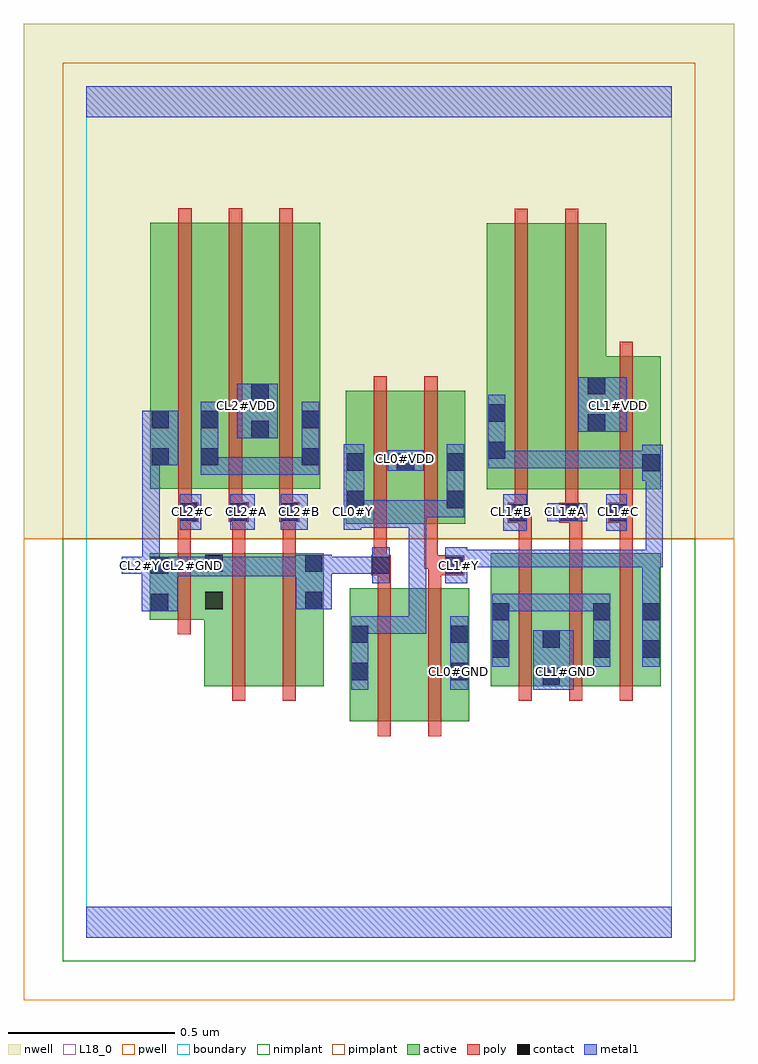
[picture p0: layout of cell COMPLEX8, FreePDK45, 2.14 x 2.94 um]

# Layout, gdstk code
import gdstk
lib = gdstk.Library(unit=1e-6, precision=1e-09)
def R(c, l, rs):  # rectangles x0, y0, x1, y1
    for r in rs: c.add(gdstk.rectangle(r[:2], r[2:], *l))
def A(c, l, x, y, w, h, nx, ny, dx, dy):  # array of equal rectangles
    R(c, l, [(x+i*dx, y+j*dy, x+i*dx+w, y+j*dy+h) for i in range(nx) for j in range(ny)])
active = (1, 0)
pwell = (2, 0)
nwell = (3, 0)
nimplant = (4, 0)
pimplant = (5, 0)
poly = (9, 0)
contact = (10, 0)
metal1 = (11, 0)
L18_0 = (18, 0)
boundary = (235, 0)

complex8 = lib.new_cell('COMPLEX8')
A(complex8, active, 0.34, 1.35, 0.06, 0.694, 3, 1, 0.152, 0)
R(complex8, active, [(0.792,0.65,0.852,1.05), (0.792,0.65,0.972,1.05), (0.972,0.65,1.152,1.05), (1.092,0.65,1.152,1.05), (0.354,0.756,0.414,1.156), (0.354,0.756,0.534,1.156), (0.534,0.756,0.714,1.156), (0.654,0.756,0.714,1.156), (1.216,0.756,1.276,1.156), (1.216,0.756,1.428,1.156), (1.368,0.756,1.58,1.156), (1.368,0.756,1.428,0.928), (1.52,0.756,1.58,1.156), (1.52,0.756,1.728,1.156), (1.668,0.756,1.728,1.156), (0.19,0.956,0.414,1.156), (0.19,0.956,0.25,1.156), (0.78,1.244,0.84,1.644), (0.78,1.244,0.99,1.644), (0.93,1.244,1.14,1.644), (1.08,1.244,1.14,1.644), (1.204,1.348,1.384,2.148), (1.204,1.348,1.264,2.044), (1.384,1.348,1.564,2.148), (1.504,1.348,1.728,1.748), (1.668,1.348,1.728,1.748), (0.192,1.35,0.252,2.044), (0.192,1.35,0.4,2.15), (0.34,1.35,0.552,2.15), (0.492,1.35,0.704,2.15), (0.93,1.388,0.99,1.644), (1.504,1.518,1.564,2.126)])
R(complex8, pwell, [(-0.188,-0.188,1.948,1.2)])
R(complex8, nwell, [(-0.188,1.2,1.948,2.748)])
R(complex8, nimplant, [(-0.072,-0.072,1.832,1.2)])
R(complex8, pimplant, [(-0.072,1.2,1.832,2.632)])
A(complex8, poly, 1.3, 0.712, 0.04, 0.488, 3, 1, 0.152, 0)
A(complex8, poly, 1.3, 1.16, 0.04, 0.128, 3, 1, 0.152, 0)
A(complex8, poly, 0.276, 1.25, 0.06, 0.06, 3, 1, 0.152, 0)
A(complex8, poly, 0.276, 1.27, 0.04, 0.076, 3, 1, 0.152, 0)
A(complex8, poly, 0.276, 1.306, 0.04, 0.888, 3, 1, 0.152, 0)
R(complex8, poly, [(0.876,0.606,0.916,1.094), (1.028,0.606,1.068,1.094), (0.438,0.712,0.478,1.2), (0.59,0.712,0.63,1.2), (0.274,0.912,0.314,1.2), (0.876,1.054,0.916,1.13), (1.028,1.054,1.068,1.13), (0.856,1.09,0.916,1.15), (1.028,1.09,1.136,1.15), (0.864,1.11,0.904,1.15), (0.864,1.11,0.904,1.15), (0.864,1.11,0.904,1.24), (1.016,1.11,1.068,1.15), (1.016,1.11,1.056,1.24), (1.028,1.11,1.068,1.15), (0.274,1.16,0.314,1.29), (0.438,1.16,0.478,1.29), (0.59,1.16,0.63,1.29), (0.864,1.2,0.904,1.688), (1.016,1.2,1.056,1.688), (1.268,1.248,1.328,1.308), (1.288,1.248,1.328,1.288), (1.288,1.248,1.34,1.288), (1.422,1.248,1.482,1.308), (1.442,1.248,1.482,1.288), (1.442,1.248,1.492,1.288), (1.57,1.248,1.644,1.308), (1.604,1.248,1.644,1.288), (1.604,1.248,1.644,1.288), (0.274,1.25,0.316,1.29), (0.276,1.25,0.316,1.29), (0.438,1.25,0.478,1.29), (0.438,1.25,0.478,1.29), (0.59,1.25,0.63,1.29), (0.59,1.25,0.63,1.29), (1.288,1.268,1.328,1.344), (1.44,1.268,1.48,1.344), (1.604,1.268,1.644,1.344), (1.288,1.304,1.328,2.192), (1.44,1.304,1.48,2.192), (1.604,1.304,1.644,1.792)])
A(complex8, contact, 0.28, 1.254, 0.052, 0.052, 3, 1, 0.152, 0)
A(complex8, contact, 0.784, 1.404, 0.052, 0.052, 3, 1, 0.15, 0)
R(complex8, contact, [(1.372,0.76,1.424,0.812), (0.796,0.774,0.848,0.826), (1.096,0.774,1.148,0.826), (1.22,0.842,1.272,0.894), (1.524,0.842,1.576,0.894), (1.672,0.842,1.724,0.894), (1.372,0.872,1.424,0.924), (0.796,0.886,0.848,0.938), (1.096,0.886,1.148,0.938), (1.22,0.954,1.272,1.006), (1.524,0.954,1.576,1.006), (1.672,0.954,1.724,1.006), (0.194,0.982,0.246,1.034), (0.358,0.988,0.41,1.04), (0.658,0.988,0.71,1.04), (0.194,1.094,0.246,1.146), (0.86,1.094,0.912,1.146), (1.08,1.094,1.132,1.146), (0.358,1.1,0.41,1.152), (0.658,1.1,0.71,1.152), (1.272,1.252,1.324,1.304), (1.426,1.252,1.478,1.304), (1.574,1.252,1.626,1.304), (0.784,1.292,0.836,1.344), (1.084,1.292,1.136,1.344), (1.672,1.402,1.724,1.454), (0.196,1.42,0.248,1.472), (0.344,1.42,0.396,1.472), (0.648,1.42,0.7,1.472), (1.208,1.44,1.26,1.492), (0.496,1.502,0.548,1.554), (1.508,1.522,1.56,1.574), (0.196,1.532,0.248,1.584), (0.344,1.532,0.396,1.584), (0.648,1.532,0.7,1.584), (1.208,1.552,1.26,1.604), (0.496,1.614,0.548,1.666), (1.508,1.634,1.56,1.686)])
R(complex8, metal1, [(0,0,1.76,0.092), (0.796,0.746,0.848,0.966), (1.094,0.746,1.148,0.966), (1.344,0.746,1.466,0.924), (1.22,0.814,1.272,1.034), (1.524,0.814,1.576,1.034), (1.672,0.814,1.724,1.034), (0.796,0.914,1.022,0.966), (0.97,0.914,1.022,0.966), (0.97,0.914,1.022,0.966), (0.97,0.914,1.022,0.966), (0.97,0.914,1.022,1.284), (0.166,0.982,0.274,1.146), (1.22,0.982,1.272,1.034), (1.22,0.982,1.272,1.034), (1.22,0.982,1.382,1.034), (1.33,0.982,1.382,1.034), (1.33,0.982,1.382,1.034), (1.33,0.982,1.382,1.034), (1.33,0.982,1.576,1.034), (1.672,0.982,1.724,1.166), (0.63,0.988,0.738,1.152), (0.86,1.066,0.912,1.174), (1.08,1.066,1.146,1.174), (0.222,1.086,0.274,1.138), (0.222,1.086,0.274,1.138), (0.222,1.086,0.396,1.138), (0.344,1.086,0.396,1.138), (0.344,1.086,0.396,1.138), (0.344,1.086,0.396,1.138), (0.344,1.086,0.572,1.138), (0.52,1.086,0.572,1.138), (0.52,1.086,0.572,1.138), (0.52,1.086,0.572,1.138), (0.52,1.086,0.682,1.138), (0.106,1.094,0.22,1.146), (0.168,1.094,0.22,1.146), (0.168,1.094,0.22,1.146), (0.168,1.094,0.22,1.146), (0.168,1.094,0.22,1.146), (0.168,1.094,0.22,1.146), (0.168,1.094,0.396,1.146), (0.168,1.094,0.22,1.472), (0.344,1.094,0.396,1.146), (0.344,1.094,0.396,1.146), (0.344,1.094,0.396,1.146), (0.344,1.094,0.506,1.146), (0.454,1.094,0.506,1.146), (0.454,1.094,0.506,1.146), (0.454,1.094,0.506,1.146), (0.454,1.094,0.716,1.146), (0.664,1.094,0.716,1.146), (0.664,1.094,0.716,1.146), (0.664,1.094,0.716,1.146), (0.664,1.094,0.912,1.146), (1.094,1.114,1.146,1.166), (1.094,1.114,1.146,1.166), (1.094,1.114,1.272,1.166), (1.22,1.114,1.272,1.166), (1.22,1.114,1.272,1.166), (1.22,1.114,1.272,1.166), (1.22,1.114,1.396,1.166), (1.344,1.114,1.396,1.166), (1.344,1.114,1.396,1.166), (1.344,1.114,1.396,1.166), (1.344,1.114,1.558,1.166), (1.506,1.114,1.558,1.166), (1.506,1.114,1.724,1.166), (1.672,1.114,1.724,1.166), (1.672,1.114,1.724,1.166), (1.672,1.114,1.734,1.166), (1.682,1.114,1.734,1.426), (1.682,1.114,1.734,1.166), (1.682,1.114,1.734,1.166), (1.254,1.224,1.324,1.334), (1.564,1.224,1.626,1.334), (0.28,1.226,0.346,1.334), (0.432,1.226,0.506,1.334), (0.584,1.226,0.666,1.334), (0.774,1.226,0.826,1.334), (0.774,1.232,1.022,1.284), (0.97,1.232,1.022,1.284), (0.97,1.232,1.022,1.284), (0.97,1.232,1.022,1.284), (0.97,1.232,1.022,1.284), (0.97,1.232,1.022,1.284), (1.386,1.252,1.506,1.306), (0.774,1.264,0.826,1.316), (0.774,1.264,0.836,1.484), (0.784,1.264,0.958,1.316), (0.906,1.264,0.958,1.316), (0.906,1.264,0.958,1.316), (0.906,1.264,0.958,1.316), (0.906,1.264,1.136,1.316), (1.084,1.264,1.136,1.316), (1.084,1.264,1.136,1.316), (1.084,1.264,1.136,1.484), (1.672,1.374,1.734,1.482), (0.344,1.392,0.396,1.444), (0.344,1.392,0.396,1.444), (0.344,1.392,0.396,1.612), (0.344,1.392,0.572,1.444), (0.52,1.392,0.572,1.444), (0.52,1.392,0.572,1.444), (0.52,1.392,0.572,1.444), (0.52,1.392,0.7,1.444), (0.648,1.392,0.7,1.612), (0.906,1.404,1.014,1.466), (1.208,1.412,1.26,1.464), (1.208,1.412,1.26,1.464), (1.208,1.412,1.26,1.632), (1.208,1.412,1.396,1.464), (1.344,1.412,1.396,1.464), (1.344,1.412,1.506,1.464), (1.454,1.412,1.506,1.464), (1.454,1.412,1.506,1.464), (1.454,1.412,1.506,1.464), (1.454,1.412,1.724,1.464), (1.672,1.412,1.724,1.464), (1.672,1.412,1.724,1.464), (0.168,1.42,0.276,1.584), (0.454,1.502,0.576,1.666), (1.48,1.522,1.626,1.686), (0,2.468,1.76,2.56)])
A(complex8, L18_0, 0.294, 1.254, 0.052, 0.052, 4, 1, 0.16, 0)
A(complex8, L18_0, 1.254, 1.254, 0.052, 0.052, 3, 1, 0.16, 0)
R(complex8, L18_0, [(0,0,1.76,0.092), (0.796,0.746,0.848,0.966), (1.094,0.746,1.148,0.966), (1.344,0.746,1.466,0.924), (1.094,0.774,1.146,0.826), (1.414,0.774,1.466,0.826), (1.672,0.814,1.724,1.034), (0.796,0.914,1.022,0.966), (0.97,0.914,1.022,0.966), (0.97,0.914,1.022,0.966), (0.97,0.914,1.022,0.966), (0.97,0.914,1.022,1.284), (0.166,0.982,0.274,1.146), (1.672,0.982,1.724,1.166), (0.63,0.988,0.738,1.152), (0.86,1.066,0.912,1.174), (1.08,1.066,1.146,1.174), (0.222,1.086,0.274,1.138), (0.222,1.086,0.274,1.138), (0.222,1.086,0.396,1.138), (0.344,1.086,0.396,1.138), (0.344,1.086,0.396,1.138), (0.344,1.086,0.396,1.138), (0.344,1.086,0.572,1.138), (0.52,1.086,0.572,1.138), (0.52,1.086,0.572,1.138), (0.52,1.086,0.572,1.138), (0.52,1.086,0.682,1.138), (0.106,1.094,0.22,1.146), (0.134,1.094,0.186,1.146), (0.168,1.094,0.22,1.146), (0.168,1.094,0.22,1.146), (0.168,1.094,0.22,1.146), (0.168,1.094,0.22,1.146), (0.168,1.094,0.22,1.146), (0.168,1.094,0.22,1.472), (0.168,1.094,0.396,1.146), (0.294,1.094,0.346,1.146), (0.344,1.094,0.396,1.146), (0.344,1.094,0.396,1.146), (0.344,1.094,0.396,1.146), (0.344,1.094,0.506,1.146), (0.454,1.094,0.506,1.146), (0.454,1.094,0.506,1.146), (0.454,1.094,0.506,1.146), (0.454,1.094,0.716,1.146), (0.664,1.094,0.716,1.146), (0.664,1.094,0.716,1.146), (0.664,1.094,0.716,1.146), (0.664,1.094,0.912,1.146), (1.094,1.094,1.146,1.146), (1.094,1.114,1.146,1.166), (1.094,1.114,1.146,1.166), (1.094,1.114,1.272,1.166), (1.22,1.114,1.272,1.166), (1.22,1.114,1.272,1.166), (1.22,1.114,1.272,1.166), (1.22,1.114,1.396,1.166), (1.344,1.114,1.396,1.166), (1.344,1.114,1.396,1.166), (1.344,1.114,1.396,1.166), (1.344,1.114,1.558,1.166), (1.506,1.114,1.558,1.166), (1.506,1.114,1.724,1.166), (1.672,1.114,1.724,1.166), (1.672,1.114,1.724,1.166), (1.672,1.114,1.734,1.166), (1.682,1.114,1.734,1.166), (1.682,1.114,1.734,1.166), (1.682,1.114,1.734,1.426), (1.254,1.224,1.324,1.334), (1.564,1.224,1.626,1.334), (0.28,1.226,0.346,1.334), (0.432,1.226,0.506,1.334), (0.584,1.226,0.666,1.334), (0.774,1.226,0.826,1.334), (0.774,1.232,1.022,1.284), (0.97,1.232,1.022,1.284), (0.97,1.232,1.022,1.284), (0.97,1.232,1.022,1.284), (0.97,1.232,1.022,1.284), (0.97,1.232,1.022,1.284), (1.386,1.252,1.506,1.306), (0.774,1.264,0.826,1.316), (0.774,1.264,0.836,1.484), (0.784,1.264,0.958,1.316), (0.906,1.264,0.958,1.316), (0.906,1.264,0.958,1.316), (0.906,1.264,0.958,1.316), (0.906,1.264,1.136,1.316), (1.084,1.264,1.136,1.316), (1.084,1.264,1.136,1.316), (1.084,1.264,1.136,1.484), (1.672,1.374,1.734,1.482), (0.906,1.404,1.014,1.466), (1.208,1.412,1.26,1.464), (1.208,1.412,1.26,1.464), (1.208,1.412,1.26,1.632), (1.208,1.412,1.396,1.464), (1.344,1.412,1.396,1.464), (1.344,1.412,1.506,1.464), (1.454,1.412,1.506,1.464), (1.454,1.412,1.506,1.464), (1.454,1.412,1.506,1.464), (1.454,1.412,1.724,1.464), (1.672,1.412,1.724,1.464), (1.672,1.412,1.724,1.464), (0.934,1.414,0.986,1.466), (0.168,1.42,0.276,1.584), (0.454,1.502,0.576,1.666), (1.48,1.522,1.626,1.686), (0.454,1.574,0.506,1.626), (1.574,1.574,1.626,1.626), (0,2.468,1.76,2.56)])
R(complex8, boundary, [(0,0,1.76,2.56)])
complex8.add(gdstk.Label('CL0#GND', (1.12,0.8), layer=11, texttype=0))
complex8.add(gdstk.Label('CL0#VDD', (0.96,1.44), layer=11, texttype=0))
complex8.add(gdstk.Label('CL0#Y', (0.8,1.28), layer=11, texttype=0))
complex8.add(gdstk.Label('CL1#A', (1.44,1.28), layer=11, texttype=0))
complex8.add(gdstk.Label('CL1#B', (1.28,1.28), layer=11, texttype=0))
complex8.add(gdstk.Label('CL1#C', (1.6,1.28), layer=11, texttype=0))
complex8.add(gdstk.Label('CL1#GND', (1.44,0.8), layer=11, texttype=0))
complex8.add(gdstk.Label('CL1#VDD', (1.6,1.6), layer=11, texttype=0))
complex8.add(gdstk.Label('CL1#Y', (1.12,1.12), layer=11, texttype=0))
complex8.add(gdstk.Label('CL2#A', (0.48,1.28), layer=11, texttype=0))
complex8.add(gdstk.Label('CL2#B', (0.64,1.28), layer=11, texttype=0))
complex8.add(gdstk.Label('CL2#C', (0.32,1.28), layer=11, texttype=0))
complex8.add(gdstk.Label('CL2#GND', (0.32,1.12), layer=11, texttype=0))
complex8.add(gdstk.Label('CL2#VDD', (0.48,1.6), layer=11, texttype=0))
complex8.add(gdstk.Label('CL2#Y', (0.16,1.12), layer=11, texttype=0))

lib.write_gds('COMPLEX8.gds')
